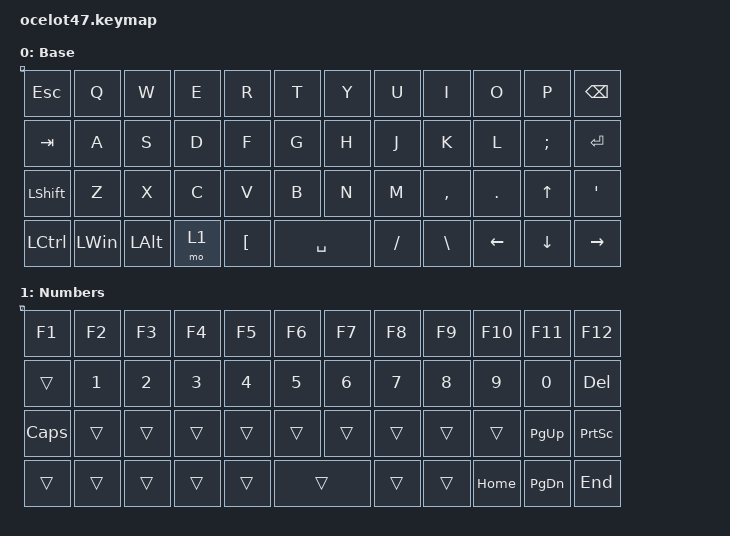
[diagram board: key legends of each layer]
#include <behaviors.dtsi>
#include <dt-bindings/zmk/keys.h>
#include <dt-bindings/zmk/bt.h>
#include <dt-bindings/zmk/outputs.h>

/ {
    keymap {
        compatible = "zmk,keymap";
        default_layer { // Layer 0
            display-name = "Base";
            bindings = <
                &kp ESC    &kp Q    &kp W    &kp E    &kp R    &kp T    &kp Y    &kp U    &kp I     &kp O    &kp P     &kp BSPC
                &kp TAB    &kp A    &kp S    &kp D    &kp F    &kp G    &kp H    &kp J    &kp K     &kp L    &kp SEMI  &kp RET
                &kp LSHFT  &kp Z    &kp X    &kp C    &kp V    &kp B    &kp N    &kp M    &kp COMMA &kp DOT  &kp UP    &kp SQT
                &kp LCTRL  &kp LWIN &kp LALT &mo 1    &kp LBKT &kp SPACE &kp SPACE   &kp FSLH &kp BSLH  &kp LEFT &kp DOWN  &kp RIGHT
            >;
        };
        number_layer { // Layer 1
            display-name = "Numbers";
            bindings = <
                &kp F1     &kp F2   &kp F3   &kp F4   &kp F5   &kp F6   &kp F7   &kp F8   &kp F9    &kp F10  &kp F11   &kp F12
                &trans     &kp N1   &kp N2   &kp N3   &kp N4   &kp N5   &kp N6   &kp N7   &kp N8    &kp N9   &kp N0    &kp DEL
                &kp CAPS   &trans   &trans   &trans   &trans   &trans   &trans   &trans   &trans    &trans   &kp PG_UP &kp PSCRN
                &trans     &trans   &trans   &trans   &trans   &trans   &trans   &trans   &trans    &kp HOME &kp PG_DN &kp END
            >;
        };
    };
 };
